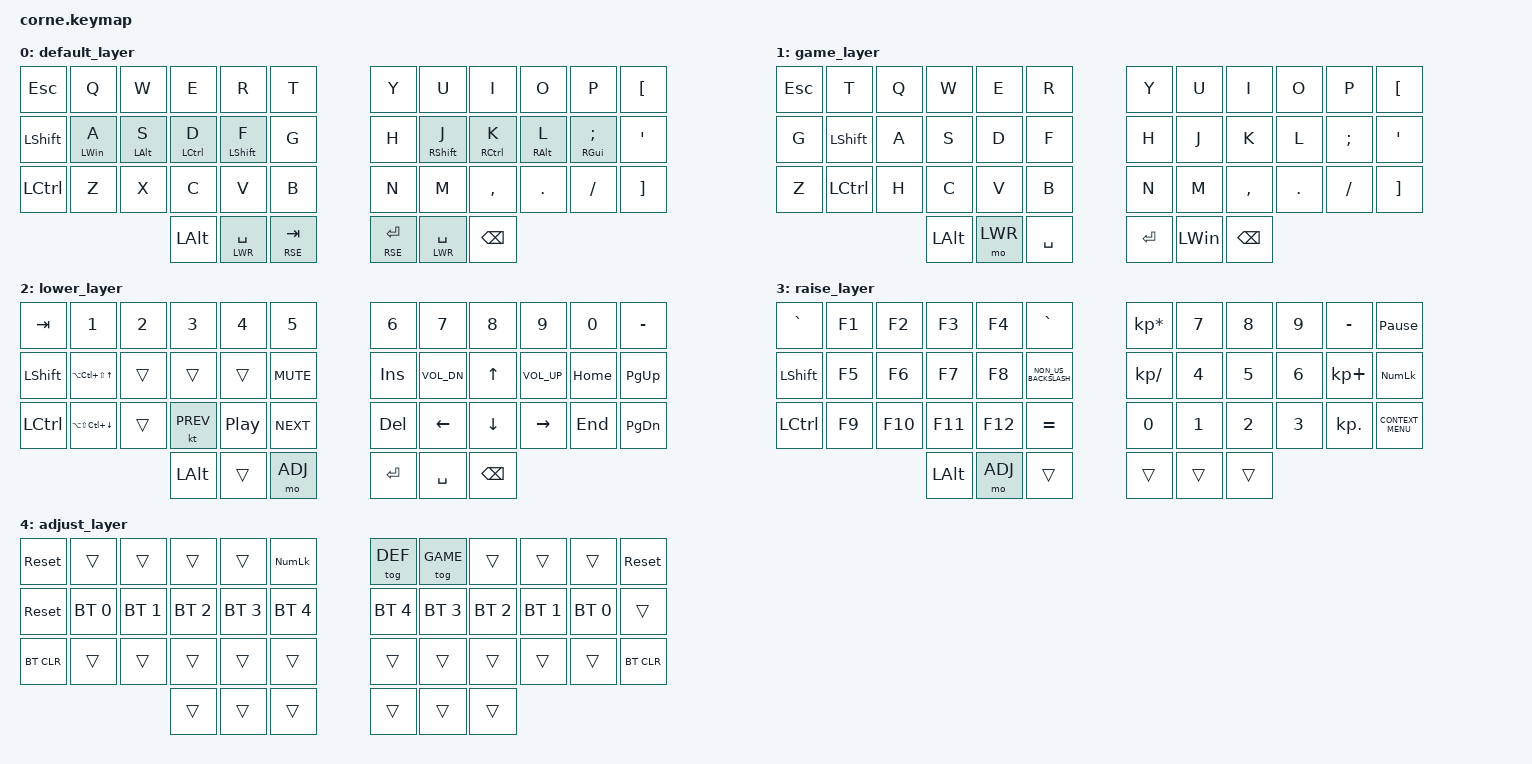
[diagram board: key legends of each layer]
/*
 * Copyright (c) 2020 The ZMK Contributors
 *
 * SPDX-License-Identifier: MIT
 */

#include <behaviors.dtsi>
#include <dt-bindings/zmk/bt.h>
#include <dt-bindings/zmk/keys.h>
#include <dt-bindings/zmk/keys.h>

#define DEF 0
#define GAME 1
#define LWR 2
#define RSE 3
#define ADJ 4

&lt { quick_tap_ms = <200>; };

&mt { quick_tap_ms = <200>; };

/ {
    behaviors {
        hml: homerow_mods_left {
            compatible = "zmk,behavior-hold-tap";
            label = "HOMEROW_MODS_LEFT";
            #binding-cells = <2>;
            tapping-term-ms = <400>;
            quick_tap_ms = <0>;
            flavor = "balanced";
            bindings = <&kp>, <&kp>;

            /*hold-trigger-key-positions = <36 37 38 6 7 8 9 10 11 18 19 20 21 22 23 30 31 32 33 34 35 39 40 41>;*/
        };

        hmr: homerow_mods_right {
            compatible = "zmk,behavior-hold-tap";
            label = "HOMEROW_MODS_RIGHT";
            #binding-cells = <2>;
            tapping-term-ms = <400>;
            quick_tap_ms = <0>;
            flavor = "balanced";
            bindings = <&kp>, <&kp>;

            /*hold-trigger-key-positions = <36 37 38 39 40 41 0 12 24 25 0 1 2 3 4 5 12 13 14 15 16 17 24 25 26 27 28 29 36 37 38>;*/
        };
    };
};

/ {
    combos {
        compatible = "zmk,combos";

        combo_ESC {
            timeout-ms = <50>;
            key-positions = <0 1>;
            bindings = <&kp ESCAPE>;
        };

        combo_AltF1 {
            bindings = <&kp LA(F1)>;
            key-positions = <2 3>;
        };

        combo_AltF2 {
            bindings = <&kp LA(F2)>;
            key-positions = <4 3>;
        };

        Toggle_Lower_Layer {
            bindings = <&tog 2>;
            key-positions = <37 40>;
        };

        Toggle_Rise_Layer {
            bindings = <&tog 3>;
            key-positions = <38 39>;
        };

        Switch_language {
            bindings = <&kp LC(LEFT_SHIFT)>;
            key-positions = <16 19>;
        };

        Combo_Tab {
            bindings = <&kp TAB>;
            key-positions = <12 13>;
        };

        Combo_Del {
            bindings = <&kp DEL>;
            key-positions = <40 41>;
        };
    };
};

/ {
    keymap {
        compatible = "zmk,keymap";

        default_layer {
            // .-------------------------------------------------------.       .-------------------------------------------------------------.
            // |  ESC  |    Q    |    W   |   E    |    R    |    T    |       |    Y    |    U    |    I    |    O    |     P    |     [    |
            // |-------+---------+--------+--------+---------+---------|       |---------+---------+---------+---------+----------+----------|
            // |  SHFT |    A    |    S   |   D    |    F    |    G    |       |    H    |    J    |    K    |    L    |     ;    |     '    |
            // |-------+---------+--------+--------+---------+---------|       |---------+---------+---------+---------+----------+----------|
            // |  CTRL |    Z    |    X   |   C    |    V    |    B    |       |    N    |    M    |    ,    |    .    |     /    |     ]    |
            // '--------------------------+--------+---------+---------+       |---------+---------+---------+-------------------------------'
            //                            |  ALT   | LWR/SPC | RSE/SPC |       | RSE/RET | LWR/BS  |   GUI   |
            //                            '--------+---------+---------'       '---------+---------+---------'

            bindings = <
&kp ESC    &kp Q            &kp W            &kp E                &kp R              &kp T          &kp Y          &kp U               &kp I          &kp O             &kp P                &kp LBKT
&kp LSHFT  &hml LEFT_WIN A  &hml LEFT_ALT S  &hml LEFT_CONTROL D  &hml LEFT_SHIFT F  &kp G          &kp H          &hmr RIGHT_SHIFT J  &hmr RCTRL K   &hmr RIGHT_ALT L  &hmr RIGHT_GUI SEMI  &kp SQT
&kp LCTRL  &kp Z            &kp X            &kp C                &kp V              &kp B          &kp N          &kp M               &kp COMMA      &kp DOT           &kp FSLH             &kp RBKT
                                             &kp LALT             &lt LWR SPACE      &lt RSE TAB    &lt RSE ENTER  &lt LWR SPACE       &kp BACKSPACE
            >;
        };

        game_layer {
            // .-------------------------------------------------------.       .-----------------------------------------------------------.
            // |  ESC  |    T    |    Q   |   W    |    E    |    R    |       |   Y   |    U    |    I    |    O    |     P    |     [    |
            // |-------+---------+--------+--------+---------+---------|       |-------+---------+---------+---------+----------+----------|
            // |   G   |   SHFT  |    A   |   S    |    D    |    F    |       |   H   |    J    |    K    |    L    |     ;    |     '    |
            // |-------+---------+--------+--------+---------+---------|       |-------+---------+---------+---------+----------+----------|
            // |   Z   |   CTRL  |    H   |   C    |    V    |    B    |       |   N   |    M    |    ,    |    .    |     /    |     ]    |
            // '--------------------------+--------+---------+---------+       |-------+---------+---------+-------------------------------'
            //                            |  ALT   |   LWR   |   SPC   |       |  RET  |   BKSP  |   GUI   |
            //                            '--------+---------+---------'       '-------+---------+---------'

            bindings = <
&kp ESC  &kp T      &kp Q  &kp W     &kp E    &kp R        &kp Y      &kp U         &kp I          &kp O    &kp P     &kp LBKT
&kp G    &kp LSHFT  &kp A  &kp S     &kp D    &kp F        &kp H      &kp J         &kp K          &kp L    &kp SEMI  &kp SQT
&kp Z    &kp LCTRL  &kp H  &kp C     &kp V    &kp B        &kp N      &kp M         &kp COMMA      &kp DOT  &kp FSLH  &kp RBKT
                           &kp LALT  &mo LWR  &kp SPACE    &kp ENTER  &kp LEFT_WIN  &kp BACKSPACE
            >;
        };

        lower_layer {
            // .--------------------------------------------------------.       .----------------------------------------------------.
            // |    TAB    |   1    |   2    |   3    |    4    |   5   |       |    6   |    7   |    8   |    9   |    0   |  -/_  |
            // |-----------+--------+--------+--------+---------+-------|       |--------+--------+--------+--------+--------+-------|
            // |    SHFT   |        |        |        |         |       |       |  INS   | vol dn |   UP   | vol up |  HOME  | PG_UP |
            // |-----------+--------+--------+--------+---------+-------|       |--------+--------+--------+--------+--------+-------|
            // |    CTRL   |        |        |  PREV  |  PAUSE  |  NEXT |       |   DEL  |  LEFT  |  DOWN  |  RIGHT |   END  | PG_DN |
            // '-----------------------------+--------+---------+-------|       |--------+--------+--------+-------------------------'
            //                               |  ALT   |         |  ADJ  |       |  ENTER |        |        |
            //                               '--------+---------+-------'       '--------+--------+--------'

            bindings = <
&kp TAB    &kp N1                      &kp N2  &kp N3      &kp N4            &kp N5        &kp N6     &kp N7        &kp N8         &kp N9        &kp N0    &kp MINUS
&kp LSHFT  &kp LA(LC(LS(UP_ARROW)))    &trans  &trans      &trans            &kp C_MUTE    &kp INS    &kp C_VOL_DN  &kp UP         &kp C_VOL_UP  &kp HOME  &kp PG_UP
&kp LCTRL  &kp LA(LS(LC(DOWN_ARROW)))  &trans  &kt C_PREV  &kp C_PLAY_PAUSE  &kp C_NEXT    &kp DEL    &kp LEFT      &kp DOWN       &kp RIGHT     &kp END   &kp PG_DN
                                               &kp LALT    &trans            &mo ADJ       &kp ENTER  &kp SPACE     &kp BACKSPACE
            >;
        };

        raise_layer {
            // .------------------------------------------------------.       .--------------------------------------------------------.
            // |   `/¨   |   F1   |   F2   |   F3   |   F4   |        |       |    *   |    7   |    8   |    9   |    -   |PAUSE_BREAK|
            // |---------+--------+--------+--------+--------+--------|       |--------+--------+--------+--------+--------+-----------|
            // |   SHFT  |   F5   |   F6   |   F7   |   F8   |    \   |       |    /   |    4   |    5   |    6   |    +   |           |
            // |---------+--------+--------+--------+--------+--------|       |--------+--------+--------+--------+--------+-----------|
            // |   CTRL  |   F9   |   F10  |   F11  |   F12  |    =   |       |    0   |    1   |    2   |    3   |    .   |           |
            // '---------------------------+--------+--------+--------+       |-------+---------+--------+-----------------------------'
            //                             |   ALT  |   ADJ  |        |       |        |        | K_CMENU|
            //                             '--------+--------+--------'       '--------+--------+--------'

            bindings = <
&kp GRAVE  &kp F1  &kp F2   &kp F3    &kp F4   &kp GRAVE               &kp KP_ASTERISK  &kp N7  &kp N8  &kp N9  &kp MINUS    &kp PAUSE_BREAK
&kp LSHFT  &kp F5  &kp F6   &kp F7    &kp F8   &kp NON_US_BACKSLASH    &kp KP_SLASH     &kp N4  &kp N5  &kp N6  &kp KP_PLUS  &kp KP_NUMLOCK
&kp LCTRL  &kp F9  &kp F10  &kp F11   &kp F12  &kp EQUAL               &kp N0           &kp N1  &kp N2  &kp N3  &kp KP_DOT   &kp K_CONTEXT_MENU
                            &kp LALT  &mo ADJ  &trans                  &trans           &trans  &trans
            >;
        };

        adjust_layer {
            // .--------------------------------------------------------.       .------------------------------------------------------.
            // |  reset  |        |        |        |         |  KP_NUM |       |  DEF   |  GAME  |        |        |        |  reset  |
            // |---------+--------+--------+--------+---------+---------|       |--------+--------+--------+--------+--------+---------|
            // |         |  BT1   |  BT2   |  BT3   |  BT4    |  BT5    |       |  BT5   |  BT4   |  BT3   |  BT2   |  BT1   |         |
            // |---------+--------+--------+--------+---------+---------|       |--------+--------+--------+--------+--------+---------|
            // |  BTCLR  |        |        |        |         |         |       |        |        |        |        |        |  BTCLR  |
            // '---------------------------+--------+---------+---------+       |--------+--------+--------+---------------------------'
            //                             |        |         |         |       |        |        |        |
            //                             '--------+---------+---------'       '--------+--------+--------'

            bindings = <
&sys_reset  &trans        &trans        &trans        &trans        &kp KP_NUM      &tog DEF      &tog GAME     &trans        &trans        &trans        &sys_reset
&sys_reset  &bt BT_SEL 0  &bt BT_SEL 1  &bt BT_SEL 2  &bt BT_SEL 3  &bt BT_SEL 4    &bt BT_SEL 4  &bt BT_SEL 3  &bt BT_SEL 2  &bt BT_SEL 1  &bt BT_SEL 0  &trans
&bt BT_CLR  &trans        &trans        &trans        &trans        &trans          &trans        &trans        &trans        &trans        &trans        &bt BT_CLR
                                        &trans        &trans        &trans          &trans        &trans        &trans
            >;
        };
    };
};
